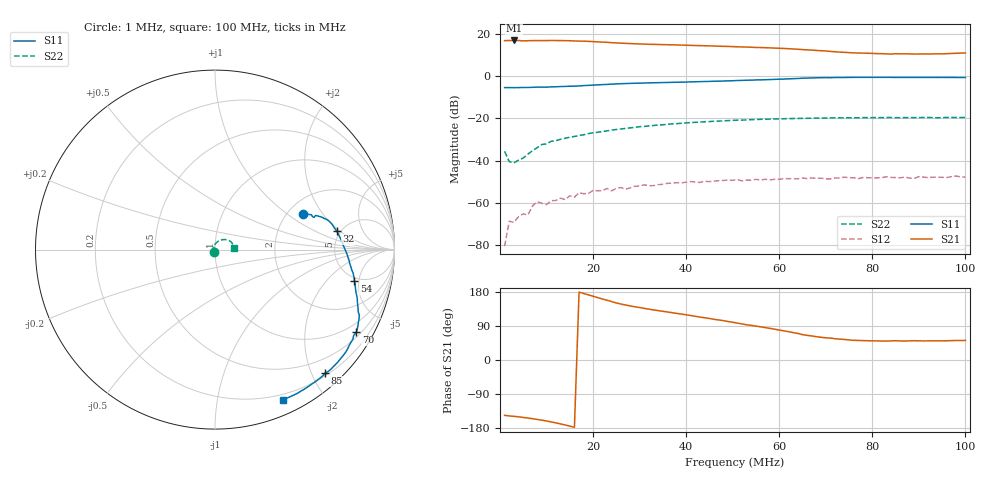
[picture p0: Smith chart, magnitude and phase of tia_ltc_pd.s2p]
# HZ S RI R 50
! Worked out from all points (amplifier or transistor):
!   100 points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, 1 MHz to 100 MHz, reference 50 ohm
!   highest |S21| = 16.8 dB at 3 MHz (marker M1)
!   |S21| within 3 dB of that: start of sweep to 50.96 MHz
!   unconditionally stable (mu >= 1): start of sweep to end of sweep
!   at 17 MHz: K = 28.57, MAG = 18.2 dB, |S12| = -55.2 dB
!   at 51 MHz: K = 11.19, MAG = 17.9 dB, |S12| = -48.9 dB
!   at 100 MHz: K = 5.50, MAG = 18.9 dB, |S12| = -47.8 dB
!   S11 on the Smith chart (normalised r, x): 1 MHz: 2.41, +1.33; 32 MHz: 4.62, +1.81; 54 MHz: 4.57, -4.35; 70 MHz: 0.65, -3.57; 85 MHz: 0.24, -2.21; 100 MHz: 0.14, -1.54
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1000001  0.4907 0.1992  -5.662 -3.808  9.25e-05 2.28e-05  -0.00825 -0.0144
2000001  0.4963 0.1892  -5.789 -3.688  -6.01e-05 0.000366  -0.0091 -0.00251
3000001  0.4901 0.198  -5.882 -3.584  -4.1e-05 0.000345  -0.00855 0.00228
8000001  0.509 0.1979  -6.285 -2.672  8.5e-05 0.00107  -0.00618 0.0193
1e7  0.5085 0.1944  -6.472 -2.246  4.34e-05 0.000909  -0.000989 0.0247
1.4e7  0.5312 0.1945  -6.743 -1.016  0.000202 0.00119  0.00356 0.0335
1.8e7  0.5603 0.1901  -6.601 0.5331  0.000518 0.00157  0.00969 0.0396
2.1e7  0.5874 0.1831  -6.159 1.699  0.000609 0.00184  0.0152 0.0442
2.5e7  0.6271 0.1653  -5.247 2.957  0.000908 0.00202  0.0228 0.0492
2.8e7  0.6519 0.1421  -4.622 3.533  0.00099 0.00205  0.0287 0.0519
3.2e7  0.6776 0.1036  -3.895 4.01  0.00145 0.0021  0.0375 0.0543
3.4e7  0.6885 0.0835  -3.583 4.216  0.00137 0.00234  0.0415 0.0552
4.3e7  0.7339 -0.0209  -2.044 4.778  0.00162 0.00258  0.0593 0.0554
5.1e7  0.7693 -0.129  -0.6167 4.835  0.00235 0.0027  0.0735 0.052
5.4e7  0.7769 -0.1743  -0.1164 4.757  0.00221 0.00265  0.0778 0.0504
6.1e7  0.7931 -0.2896  0.9984 4.346  0.00263 0.00267  0.0864 0.0452
6.7e7  0.7986 -0.4051  1.825 3.646  0.00264 0.00286  0.0923 0.0394
7e7  0.7867 -0.4611  2.034 3.323  0.00241 0.00281  0.0944 0.037
7.6e7  0.7292 -0.5697  2.159 2.762  0.00281 0.00274  0.0979 0.031
8.4e7  0.6308 -0.6786  2.088 2.524  0.00271 0.00297  0.1019 0.0223
8.5e7  0.6145 -0.6873  2.114 2.603  0.00286 0.00276  0.101 0.0218
1e8  0.3768 -0.8381  2.171 2.735  0.00284 0.00292  0.1043 0.00741
